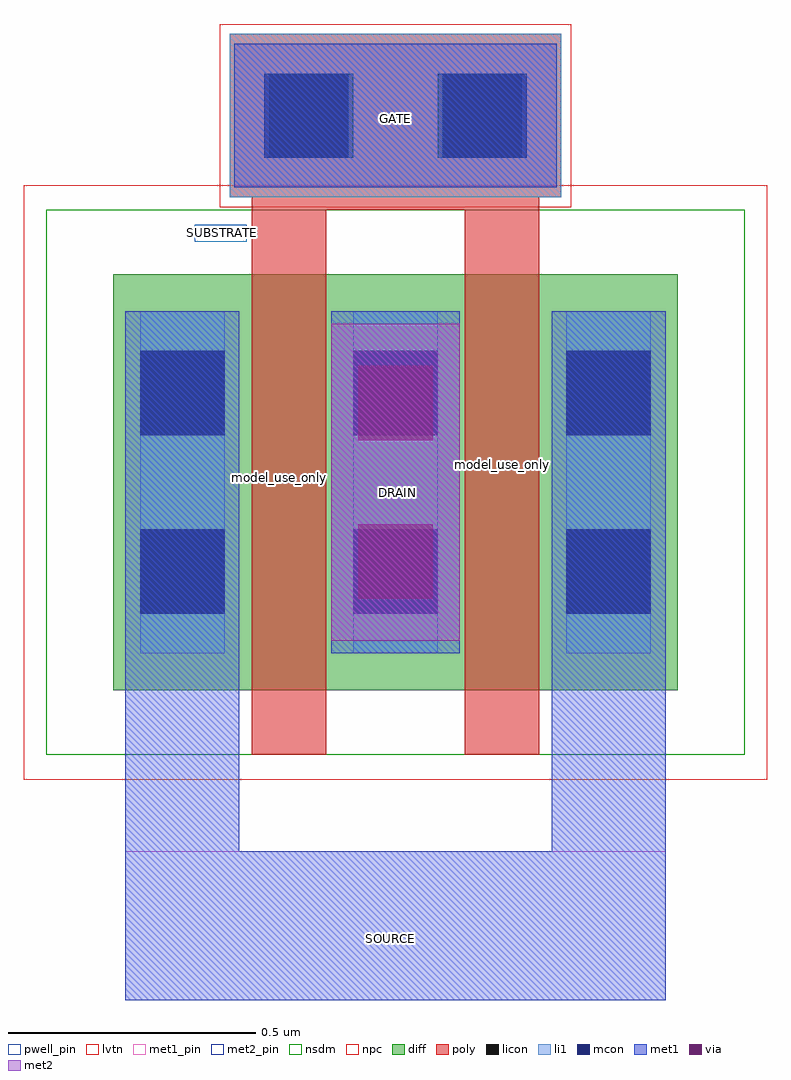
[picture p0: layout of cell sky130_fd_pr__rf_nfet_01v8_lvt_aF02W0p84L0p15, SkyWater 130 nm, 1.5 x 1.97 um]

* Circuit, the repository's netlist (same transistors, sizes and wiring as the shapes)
* Copyright 2020 The SkyWater PDK Authors
*
* Licensed under the Apache License, Version 2.0 (the "License");
* you may not use this file except in compliance with the License.
* You may obtain a copy of the License at
*
*     https://www.apache.org/licenses/LICENSE-2.0
*
* Unless required by applicable law or agreed to in writing, software
* distributed under the License is distributed on an "AS IS" BASIS,
* WITHOUT WARRANTIES OR CONDITIONS OF ANY KIND, either express or implied.
* See the License for the specific language governing permissions and
* limitations under the License.
*
* SPDX-License-Identifier: Apache-2.0


.subckt sky130_fd_pr__rf_nfet_01v8_lvt_aF02W0p84L0p15 DRAIN GATE SOURCE SUBSTRATE
X0 SOURCE GATE DRAIN SUBSTRATE sky130_fd_pr__nfet_01v8_lvt w=840000u l=150000u
X1 DRAIN GATE SOURCE SUBSTRATE sky130_fd_pr__nfet_01v8_lvt w=840000u l=150000u
.ends

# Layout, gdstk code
import gdstk
lib = gdstk.Library(unit=1e-6, precision=1e-09)
def R(c, l, rs):  # rectangles x0, y0, x1, y1
    for r in rs: c.add(gdstk.rectangle(r[:2], r[2:], *l))
def A(c, l, x, y, w, h, nx, ny, dx, dy):  # array of equal rectangles
    R(c, l, [(x+i*dx, y+j*dy, x+i*dx+w, y+j*dy+h) for i in range(nx) for j in range(ny)])
diff = (65, 20)
poly = (66, 20)
licon = (66, 44)
li1 = (67, 20)
mcon = (67, 44)
met1_pin = (68, 16)
met1 = (68, 20)
via = (68, 44)
met2_pin = (69, 16)
met2 = (69, 20)
nsdm = (93, 44)
npc = (95, 20)
pwell_pin = (122, 16)
lvtn = (125, 44)

sky130_fd_pr__rf_nfet_01 = lib.new_cell('sky130_fd_pr__rf_nfet_01v8_lvt_aF02W0p84L0p15')
A(sky130_fd_pr__rf_nfet_01, diff, 0.18, 0.18, 0.28, 0.84, 3, 1, 0.43, 0)
R(sky130_fd_pr__rf_nfet_01, diff, [(0.21,0.18,0.46,1.02), (0.46,0.18,0.61,1.02), (0.89,0.18,1.04,1.02), (1.04,0.18,1.32,1.02)])
R(sky130_fd_pr__rf_nfet_01, poly, [(0.46,0.05,0.61,0.18), (0.46,0.05,0.61,1.15), (0.89,0.05,1.04,0.18), (0.89,0.05,1.04,1.15), (0.46,1.02,0.61,1.15), (0.89,1.02,1.04,1.15), (0.46,1.15,1.04,1.505), (0.415,1.175,1.085,1.505)])
A(sky130_fd_pr__rf_nfet_01, licon, 0.235, 0.335, 0.17, 0.17, 3, 2, 0.43, 0.36)
R(sky130_fd_pr__rf_nfet_01, licon, [(0.495,1.255,0.665,1.425), (0.835,1.255,1.005,1.425)])
A(sky130_fd_pr__rf_nfet_01, li1, 0.235, 0.255, 0.17, 0.69, 3, 1, 0.43, 0)
R(sky130_fd_pr__rf_nfet_01, li1, [(0.415,1.175,1.085,1.505), (0.485,1.255,1.015,1.425)])
A(sky130_fd_pr__rf_nfet_01, mcon, 0.235, 0.335, 0.17, 0.17, 3, 2, 0.43, 0.36)
R(sky130_fd_pr__rf_nfet_01, mcon, [(0.485,1.255,0.655,1.425), (0.845,1.255,1.015,1.425)])
R(sky130_fd_pr__rf_nfet_01, met1_pin, [(0.205,-0.445,1.295,-0.145), (0.425,1.195,1.075,1.485)])
R(sky130_fd_pr__rf_nfet_01, met1, [(0.62,0.275,0.88,0.925), (0.425,1.195,1.075,1.485)])
R(sky130_fd_pr__rf_nfet_01, via, [(0.675,0.365,0.825,0.515), (0.675,0.685,0.825,0.835)])
R(sky130_fd_pr__rf_nfet_01, met2_pin, [(0.62,0.28,0.88,0.92)])
R(sky130_fd_pr__rf_nfet_01, met2, [(0.62,0.28,0.88,0.92)])
R(sky130_fd_pr__rf_nfet_01, nsdm, [(0.045,0.05,0.59,1.15), (0.21,0.05,0.61,1.15), (0.48,0.05,1.02,1.15), (0.64,0.05,1.04,1.15), (0.91,0.05,1.455,1.15)])
R(sky130_fd_pr__rf_nfet_01, npc, [(0.395,1.155,1.105,1.525)])
R(sky130_fd_pr__rf_nfet_01, pwell_pin, [(0.345,1.085,0.45,1.12)])
R(sky130_fd_pr__rf_nfet_01, lvtn, [(0,0,1.5,1.2)])
sky130_fd_pr__rf_nfet_01.add(gdstk.FlexPath([(0.32,0.945),(0.32,-0.445)], 0.23, ends="flush", simple_path=True, layer=68, datatype=20))  # met1
sky130_fd_pr__rf_nfet_01.add(gdstk.FlexPath([(0.205,-0.295),(1.295,-0.295)], 0.3, ends="flush", simple_path=True, layer=68, datatype=20))  # met1
sky130_fd_pr__rf_nfet_01.add(gdstk.FlexPath([(0.75,0.945),(0.75,0.255)], 0.26, ends="flush", simple_path=True, layer=68, datatype=20))  # met1
sky130_fd_pr__rf_nfet_01.add(gdstk.FlexPath([(1.18,0.945),(1.18,-0.445)], 0.23, ends="flush", simple_path=True, layer=68, datatype=20))  # met1
sky130_fd_pr__rf_nfet_01.add(gdstk.Label('model_use_only', (0.515,0.61), layer=66, texttype=83))
sky130_fd_pr__rf_nfet_01.add(gdstk.Label('model_use_only', (0.965,0.635), layer=66, texttype=83))
sky130_fd_pr__rf_nfet_01.add(gdstk.Label('DRAIN', (0.755,0.58), layer=69, texttype=16))
sky130_fd_pr__rf_nfet_01.add(gdstk.Label('GATE', (0.75,1.335), layer=68, texttype=16))
sky130_fd_pr__rf_nfet_01.add(gdstk.Label('SOURCE', (0.74,-0.32), layer=68, texttype=16))
sky130_fd_pr__rf_nfet_01.add(gdstk.Label('SUBSTRATE', (0.4,1.105), layer=64, texttype=59))

lib.write_gds('sky130_fd_pr__rf_nfet_01v8_lvt_aF02W0p84L0p15.gds')
